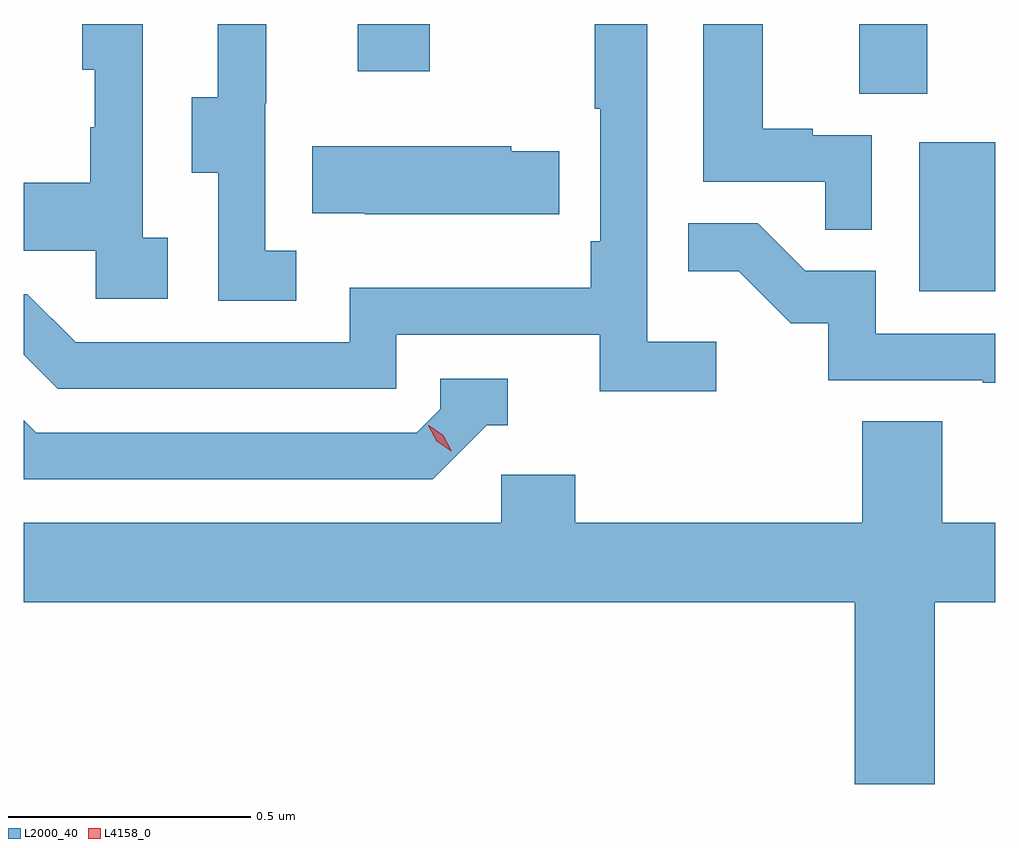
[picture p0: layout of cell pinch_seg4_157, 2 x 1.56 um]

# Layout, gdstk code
import gdstk
lib = gdstk.Library(unit=1e-6, precision=1e-09)
def R(c, l, rs):  # rectangles x0, y0, x1, y1
    for r in rs: c.add(gdstk.rectangle(r[:2], r[2:], *l))
def P(c, l, *ps):  # polygons
    for p in ps: c.add(gdstk.Polygon(p, *l))
L2000_40 = (2000, 40)
L4158_0 = (4158, 0)

pinch_seg4_157 = lib.new_cell('pinch_seg4_157')
R(pinch_seg4_157, L2000_40, [(1136.168,792.132,1136.325,792.439), (1136.045,792.538,1136.185,792.682), (1135.013,792.585,1135.161,792.682)])
P(pinch_seg4_157, L2000_40, [(1134.886,792.215),(1134.822,792.215),(1134.822,792.519),(1134.824,792.519),(1134.824,792.682),(1134.725,792.682),(1134.725,792.531),(1134.671,792.531),(1134.671,792.376),(1134.726,792.376),(1134.726,792.112),(1134.886,792.112)],
  [(1136.07,792.453),(1135.949,792.453),(1135.949,792.466),(1135.846,792.466),(1135.846,792.682),(1135.724,792.682),(1135.724,792.357),(1135.975,792.357),(1135.975,792.259),(1136.07,792.259)],
  [(1134.622,792.242),(1134.57,792.242),(1134.57,792.682),(1134.446,792.682),(1134.446,792.588),(1134.472,792.588),(1134.472,792.47),(1134.462,792.47),(1134.462,792.355),(1134.325,792.355),(1134.325,792.215),(1134.474,792.215),(1134.474,792.117),(1134.622,792.117)],
  [(1135.75,792.028),(1135.608,792.028),(1135.608,792.682),(1135.5,792.682),(1135.5,792.508),(1135.512,792.508),(1135.512,792.235),(1135.492,792.235),(1135.492,792.139),(1134.996,792.139),(1134.996,792.027),(1134.432,792.027),(1134.333,792.126),(1134.325,792.126),(1134.325,792.001),(1134.395,791.931),(1135.092,791.931),(1135.092,792.042),(1135.511,792.042),(1135.511,791.926),(1135.75,791.926)],
  [(1135.427,792.42),(1135.329,792.42),(1135.329,792.43),(1134.919,792.43),(1134.919,792.293),(1135.027,792.293),(1135.027,792.29),(1135.427,792.29)],
  [(1136.325,792.045),(1136.079,792.045),(1136.079,792.174),(1135.934,792.174),(1135.836,792.272),(1135.693,792.272),(1135.693,792.173),(1135.797,792.173),(1135.904,792.066),(1135.981,792.066),(1135.981,791.949),(1136.299,791.949),(1136.299,791.944),(1136.325,791.944)],
  [(1135.278,791.856),(1135.321,791.856),(1135.321,791.952),(1135.182,791.952),(1135.182,791.889),(1135.134,791.841),(1134.351,791.841),(1134.325,791.867),(1134.325,791.745),(1135.167,791.745)],
  [(1136.2,791.492),(1136.325,791.492),(1136.325,791.656),(1136.216,791.656),(1136.216,791.864),(1136.051,791.864),(1136.051,791.656),(1135.46,791.656),(1135.46,791.754),(1135.308,791.754),(1135.308,791.656),(1134.325,791.656),(1134.325,791.492),(1136.036,791.492),(1136.036,791.118),(1136.2,791.118)])
P(pinch_seg4_157, L4158_0, [(1135.205,791.803),(1135.175,791.823),(1135.158,791.855),(1135.158,791.856),(1135.159,791.856),(1135.189,791.836),(1135.206,791.803),(1135.206,791.803)])

lib.write_gds('pinch_seg4_157.gds')
